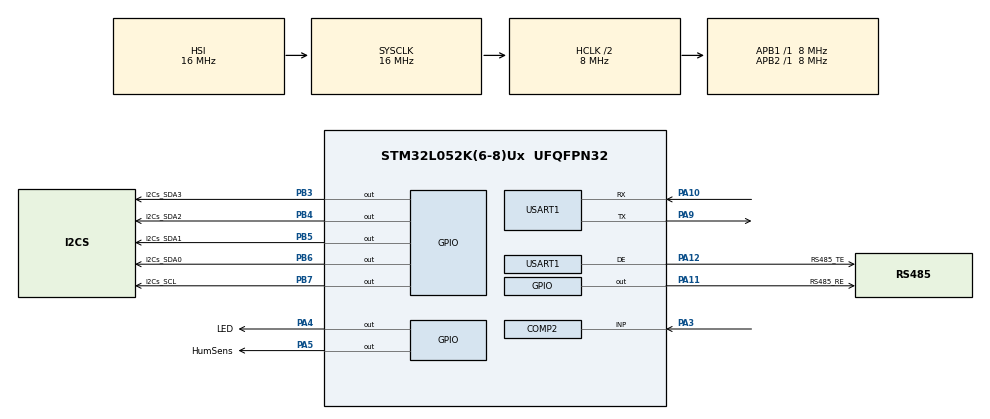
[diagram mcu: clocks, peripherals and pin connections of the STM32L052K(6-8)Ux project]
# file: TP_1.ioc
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COMP2.InvertingInput=COMP_INPUT_MINUS_1_4VREFINT
COMP2.TriggerMode=COMP_TRIGGERMODE_IT_RISING
FREERTOS.Tasks01=defaultTask,0,128,StartDefaultTask,Default,NULL,Dynamic,NULL,NULL;TempSensorsTask,0,128,vTempSensorsTask,Default,NULL,Dynamic,NULL,NULL
FREERTOS.Timers01=UART_Timer,UART_TimerCallback,osTimerOnce,Default,NULL,Dynamic,NULL
FREERTOS.configTOTAL_HEAP_SIZE=4096
FREERTOS.configUSE_IDLE_HOOK=1
FREERTOS.configUSE_TIMERS=1
Mcu.Family=STM32L0
Mcu.Name=STM32L052K(6-8)Ux
Mcu.Package=UFQFPN32
NVIC.ADC1_COMP_IRQn=true\:0\:0\:false\:false\:true\:false\:true
NVIC.TIM6_DAC_IRQn=true\:0\:0\:false\:false\:true\:false\:true
NVIC.USART1_IRQn=true\:0\:0\:false\:false\:true\:false\:true
PA10.Mode=Asynchronous
PA10.Signal=USART1_RX
PA11.GPIO_Label=RS485_RE
PA11.Signal=GPIO_Output
PA12.GPIO_Label=RS485_TE
PA12.Mode=Hardware Flow Control (RS485)
PA12.Signal=USART1_DE
PA13.Mode=Serial_Wire
PA13.Signal=SYS_SWDIO
PA14.Mode=Serial_Wire
PA14.Signal=SYS_SWCLK
PA3.Mode=INP
PA3.Signal=COMP2_INP
PA4.GPIO_Label=LED
PA4.Signal=GPIO_Output
PA5.GPIO_Label=HumSens
PA5.Signal=GPIO_Output
PA9.Mode=Asynchronous
PA9.Signal=USART1_TX
PB3.GPIO_Label=I2Cs_SDA3
PB3.GPIO_ModeDefaultOutputPP=GPIO_MODE_OUTPUT_OD
PB3.GPIO_Speed=GPIO_SPEED_FREQ_HIGH
PB3.PinState=GPIO_PIN_SET
PB3.Signal=GPIO_Output
PB4.GPIO_Label=I2Cs_SDA2
PB4.GPIO_ModeDefaultOutputPP=GPIO_MODE_OUTPUT_OD
PB4.GPIO_Speed=GPIO_SPEED_FREQ_HIGH
PB4.PinState=GPIO_PIN_SET
PB4.Signal=GPIO_Output
PB5.GPIO_Label=I2Cs_SDA1
PB5.GPIO_ModeDefaultOutputPP=GPIO_MODE_OUTPUT_OD
PB5.GPIO_Speed=GPIO_SPEED_FREQ_HIGH
PB5.PinState=GPIO_PIN_SET
PB5.Signal=GPIO_Output
PB6.GPIO_Label=I2Cs_SDA0
PB6.GPIO_ModeDefaultOutputPP=GPIO_MODE_OUTPUT_OD
PB6.GPIO_Speed=GPIO_SPEED_FREQ_HIGH
PB6.PinState=GPIO_PIN_SET
PB6.Signal=GPIO_Output
PB7.GPIO_Label=I2Cs_SCL
PB7.GPIO_ModeDefaultOutputPP=GPIO_MODE_OUTPUT_OD
PB7.GPIO_Speed=GPIO_SPEED_FREQ_HIGH
PB7.PinState=GPIO_PIN_SET
PB7.Signal=GPIO_Output
ProjectManager.HeapSize=0x200
ProjectManager.StackSize=0x400
ProjectManager.TargetToolchain=EWARM
RCC.AHBCLKDivider=RCC_SYSCLK_DIV2
RCC.AHBFreq_Value=8000000
RCC.APB1Freq_Value=8000000
RCC.APB1TimFreq_Value=8000000
RCC.APB2Freq_Value=8000000
RCC.APB2TimFreq_Value=8000000
RCC.HCLKFreq_Value=8000000
RCC.HSI16_VALUE=16000000
RCC.HSI48_VALUE=48000000
RCC.HSI_VALUE=16000000
RCC.LSE_VALUE=32768
RCC.MSI_VALUE=2097000
RCC.SYSCLKFreq_VALUE=16000000
RCC.SYSCLKSource=RCC_SYSCLKSOURCE_HSI
RCC.VCOOutputFreq_Value=48000000
TIM6.Period=1000
TIM6.Prescaler=800
USART1.VirtualMode-Asynchronous=VM_ASYNC
USART1.VirtualMode-Hardware\ Flow\ Control\ (RS485)=VM_ASYNC
USART1.WordLength=WORDLENGTH_8B
VP_COMP2_VS_VREFINT14.Mode=VREFINT_14
VP_CRC_VS_CRC.Mode=CRC_Activate
VP_FREERTOS_VS_ENABLE.Mode=Enabled
VP_TIM6_VS_ClockSourceINT.Mode=Enable_Timer
board=TP_1

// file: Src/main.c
/**
  ******************************************************************************
  * @file           : main.c
  * @brief          : Main program body
  ******************************************************************************
  * This notice applies to any and all portions of this file
  * that are not between comment pairs USER CODE BEGIN and
  * USER CODE END. Other portions of this file, whether
  * inserted by the user or by software development tools
  * are owned by their respective copyright owners.
  *
  * Copyright (c) 2018 STMicroelectronics International N.V.
  * All rights reserved.
  *
  * Redistribution and use in source and binary forms, with or without
  * modification, are permitted, provided that the following conditions are met:
  *
  * 1. Redistribution of source code must retain the above copyright notice,
  *    this list of conditions and the following disclaimer.
  * 2. Redistributions in binary form must reproduce the above copyright notice,
  *    this list of conditions and the following disclaimer in the documentation
  *    and/or other materials provided with the distribution.
  * 3. Neither the name of STMicroelectronics nor the names of other
  *    contributors to this software may be used to endorse or promote products
  *    derived from this software without specific written permission.
  * 4. This software, including modifications and/or derivative works of this
  *    software, must execute solely and exclusively on microcontroller or
  *    microprocessor devices manufactured by or for STMicroelectronics.
  * 5. Redistribution and use of this software other than as permitted under
  *    this license is void and will automatically terminate your rights under
  *    this license.
  *
  * THIS SOFTWARE IS PROVIDED BY STMICROELECTRONICS AND CONTRIBUTORS "AS IS"
  * AND ANY EXPRESS, IMPLIED OR STATUTORY WARRANTIES, INCLUDING, BUT NOT
  * LIMITED TO, THE IMPLIED WARRANTIES OF MERCHANTABILITY, FITNESS FOR A
  * PARTICULAR PURPOSE AND NON-INFRINGEMENT OF THIRD PARTY INTELLECTUAL PROPERTY
  * RIGHTS ARE DISCLAIMED TO THE FULLEST EXTENT PERMITTED BY LAW. IN NO EVENT
  * SHALL STMICROELECTRONICS OR CONTRIBUTORS BE LIABLE FOR ANY DIRECT, INDIRECT,
  * INCIDENTAL, SPECIAL, EXEMPLARY, OR CONSEQUENTIAL DAMAGES (INCLUDING, BUT NOT
  * LIMITED TO, PROCUREMENT OF SUBSTITUTE GOODS OR SERVICES; LOSS OF USE, DATA,
  * OR PROFITS; OR BUSINESS INTERRUPTION) HOWEVER CAUSED AND ON ANY THEORY OF
  * LIABILITY, WHETHER IN CONTRACT, STRICT LIABILITY, OR TORT (INCLUDING
  * NEGLIGENCE OR OTHERWISE) ARISING IN ANY WAY OUT OF THE USE OF THIS SOFTWARE,
  * EVEN IF ADVISED OF THE POSSIBILITY OF SUCH DAMAGE.
  *
  ******************************************************************************
  */
#include "main.h"
#include "stm32l0xx_hal.h"
#include "cmsis_os.h"
#include "comp.h"
#include "crc.h"
#include "tim.h"
#include "usart.h"
#include "gpio.h"

/* USER CODE BEGIN Includes */
#include "Build_def.h"
/* USER CODE END Includes */

/* USER CODE BEGIN PV */
/* Private variables ---------------------------------------------------------*/
const TInfo Info = //@ 0x800FF80 =
{
  {"1.00"},
  {"TIP-TP"},
  {BUILD_YEAR0, BUILD_YEAR1, BUILD_YEAR2, BUILD_YEAR3,
  '-',
  BUILD_MONTH0, BUILD_MONTH1,
  '-',
  BUILD_DAY0, BUILD_DAY1}
};
/* USER CODE END PV */

void SystemClock_Config(void);
void MX_FREERTOS_Init(void);

/* USER CODE BEGIN PFP */
/* Private function prototypes -----------------------------------------------*/

/* USER CODE END PFP */

int main(void)
{

  /* MCU Configuration----------------------------------------------------------*/

  /* Reset of all peripherals, Initializes the Flash interface and the Systick. */
  HAL_Init();

  /* Configure the system clock */
  SystemClock_Config();

  /* Initialize all configured peripherals */
  MX_GPIO_Init();
  MX_COMP2_Init();
  MX_CRC_Init();
  MX_TIM6_Init();
  MX_USART1_UART_Init();
  /* USER CODE BEGIN 2 */
  uint8_t tmp;
  HAL_UART_Receive_IT(&huart1, &tmp, 1);
  /* USER CODE END 2 */

  /* Call init function for freertos objects (in freertos.c) */
  MX_FREERTOS_Init();

  /* Start scheduler */
  osKernelStart();

  /* We should never get here as control is now taken by the scheduler */

  /* Infinite loop */
  while (1)
  {

  }

}

void SystemClock_Config(void)
{

  RCC_OscInitTypeDef RCC_OscInitStruct;
  RCC_ClkInitTypeDef RCC_ClkInitStruct;
  RCC_PeriphCLKInitTypeDef PeriphClkInit;

    /**Configure the main internal regulator output voltage
    */
  __HAL_PWR_VOLTAGESCALING_CONFIG(PWR_REGULATOR_VOLTAGE_SCALE1);

    /**Initializes the CPU, AHB and APB busses clocks
    */
  RCC_OscInitStruct.OscillatorType = RCC_OSCILLATORTYPE_HSI;
  RCC_OscInitStruct.HSIState = RCC_HSI_ON;
  RCC_OscInitStruct.HSICalibrationValue = 16;
  RCC_OscInitStruct.PLL.PLLState = RCC_PLL_NONE;
  if (HAL_RCC_OscConfig(&RCC_OscInitStruct) != HAL_OK)
  {
    _Error_Handler(__FILE__, __LINE__);
  }

    /**Initializes the CPU, AHB and APB busses clocks
    */
  RCC_ClkInitStruct.ClockType = RCC_CLOCKTYPE_HCLK|RCC_CLOCKTYPE_SYSCLK
                              |RCC_CLOCKTYPE_PCLK1|RCC_CLOCKTYPE_PCLK2;
  RCC_ClkInitStruct.SYSCLKSource = RCC_SYSCLKSOURCE_HSI;
  RCC_ClkInitStruct.AHBCLKDivider = RCC_SYSCLK_DIV2;
  RCC_ClkInitStruct.APB1CLKDivider = RCC_HCLK_DIV1;
  RCC_ClkInitStruct.APB2CLKDivider = RCC_HCLK_DIV1;

  if (HAL_RCC_ClockConfig(&RCC_ClkInitStruct, FLASH_LATENCY_0) != HAL_OK)
  {
    _Error_Handler(__FILE__, __LINE__);
  }

  PeriphClkInit.PeriphClockSelection = RCC_PERIPHCLK_USART1;
  PeriphClkInit.Usart1ClockSelection = RCC_USART1CLKSOURCE_PCLK2;
  if (HAL_RCCEx_PeriphCLKConfig(&PeriphClkInit) != HAL_OK)
  {
    _Error_Handler(__FILE__, __LINE__);
  }

    /**Configure the Systick interrupt time
    */
  HAL_SYSTICK_Config(HAL_RCC_GetHCLKFreq()/1000);

    /**Configure the Systick
    */
  HAL_SYSTICK_CLKSourceConfig(SYSTICK_CLKSOURCE_HCLK);

  /* SysTick_IRQn interrupt configuration */
  HAL_NVIC_SetPriority(SysTick_IRQn, 3, 0);
}

void _Error_Handler(char *file, int line)
{
  while(1)
  {
  }
}

/************************ (C) COPYRIGHT STMicroelectronics *****END OF FILE****/

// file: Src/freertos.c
/**
  ******************************************************************************
  * File Name          : freertos.c
  * Description        : Code for freertos applications
  ******************************************************************************
  * This notice applies to any and all portions of this file
  * that are not between comment pairs USER CODE BEGIN and
  * USER CODE END. Other portions of this file, whether
  * inserted by the user or by software development tools
  * are owned by their respective copyright owners.
  *
  * Copyright (c) 2018 STMicroelectronics International N.V.
  * All rights reserved.
  *
  * Redistribution and use in source and binary forms, with or without
  * modification, are permitted, provided that the following conditions are met:
  *
  * 1. Redistribution of source code must retain the above copyright notice,
  *    this list of conditions and the following disclaimer.
  * 2. Redistributions in binary form must reproduce the above copyright notice,
  *    this list of conditions and the following disclaimer in the documentation
  *    and/or other materials provided with the distribution.
  * 3. Neither the name of STMicroelectronics nor the names of other
  *    contributors to this software may be used to endorse or promote products
  *    derived from this software without specific written permission.
  * 4. This software, including modifications and/or derivative works of this
  *    software, must execute solely and exclusively on microcontroller or
  *    microprocessor devices manufactured by or for STMicroelectronics.
  * 5. Redistribution and use of this software other than as permitted under
  *    this license is void and will automatically terminate your rights under
  *    this license.
  *
  * THIS SOFTWARE IS PROVIDED BY STMICROELECTRONICS AND CONTRIBUTORS "AS IS"
  * AND ANY EXPRESS, IMPLIED OR STATUTORY WARRANTIES, INCLUDING, BUT NOT
  * LIMITED TO, THE IMPLIED WARRANTIES OF MERCHANTABILITY, FITNESS FOR A
  * PARTICULAR PURPOSE AND NON-INFRINGEMENT OF THIRD PARTY INTELLECTUAL PROPERTY
  * RIGHTS ARE DISCLAIMED TO THE FULLEST EXTENT PERMITTED BY LAW. IN NO EVENT
  * SHALL STMICROELECTRONICS OR CONTRIBUTORS BE LIABLE FOR ANY DIRECT, INDIRECT,
  * INCIDENTAL, SPECIAL, EXEMPLARY, OR CONSEQUENTIAL DAMAGES (INCLUDING, BUT NOT
  * LIMITED TO, PROCUREMENT OF SUBSTITUTE GOODS OR SERVICES; LOSS OF USE, DATA,
  * OR PROFITS; OR BUSINESS INTERRUPTION) HOWEVER CAUSED AND ON ANY THEORY OF
  * LIABILITY, WHETHER IN CONTRACT, STRICT LIABILITY, OR TORT (INCLUDING
  * NEGLIGENCE OR OTHERWISE) ARISING IN ANY WAY OUT OF THE USE OF THIS SOFTWARE,
  * EVEN IF ADVISED OF THE POSSIBILITY OF SUCH DAMAGE.
  *
  ******************************************************************************
  */

#include "FreeRTOS.h"
#include "task.h"
#include "cmsis_os.h"

/* USER CODE BEGIN Includes */
#include "main.h"
#include "comp.h"
#include "crc.h"
#include "tim.h"

#include "Measure.h"
#include "Serial.h"
#include "App.h"
/* USER CODE END Includes */

osThreadId defaultTaskHandle;
osThreadId TempSensorsTaskHandle;
osTimerId UART_TimerHandle;

void StartDefaultTask(void const * argument);
void vTempSensorsTask(void const * argument);
void UART_TimerCallback(void const * argument);

void MX_FREERTOS_Init(void); /* (MISRA C 2004 rule 8.1) */

/* Hook prototypes */
void vApplicationIdleHook(void);

/* USER CODE BEGIN 2 */
__weak void vApplicationIdleHook( void )
{
   /* vApplicationIdleHook() will only be called if configUSE_IDLE_HOOK is set
   to 1 in FreeRTOSConfig.h. It will be called on each iteration of the idle
   task. It is essential that code added to this hook function never attempts
   to block in any way (for example, call xQueueReceive() with a block time
   specified, or call vTaskDelay()). If the application makes use of the
   vTaskDelete() API function (as this demo application does) then it is also
   important that vApplicationIdleHook() is permitted to return to its calling
   function, because it is the responsibility of the idle task to clean up
   memory allocated by the kernel to any task that has since been deleted. */
   HAL_PWR_EnterSLEEPMode(PWR_LOWPOWERREGULATOR_ON, PWR_SLEEPENTRY_WFI);
}
/* USER CODE END 2 */

/* Init FreeRTOS */

void MX_FREERTOS_Init(void) {

  /* Create the timer(s) */
  /* definition and creation of UART_Timer */
  osTimerDef(UART_Timer, UART_TimerCallback);
  UART_TimerHandle = osTimerCreate(osTimer(UART_Timer), osTimerOnce, NULL);

  /* Create the thread(s) */
  /* definition and creation of defaultTask */
  osThreadDef(defaultTask, StartDefaultTask, osPriorityNormal, 0, 128);
  defaultTaskHandle = osThreadCreate(osThread(defaultTask), NULL);

  /* definition and creation of TempSensorsTask */
  osThreadDef(TempSensorsTask, vTempSensorsTask, osPriorityNormal, 0, 128);
  TempSensorsTaskHandle = osThreadCreate(osThread(TempSensorsTask), NULL);

}

/* StartDefaultTask function */
void StartDefaultTask(void const * argument)
{

  /* USER CODE BEGIN StartDefaultTask */
  DataInit();

  HAL_COMP_Start_IT(&hcomp2);
  HAL_TIM_Base_Start_IT(&htim6);
  while(1)
  {
    HAL_GPIO_WritePin(HumSens_GPIO_Port, HumSens_Pin, GPIO_PIN_SET);
    osDelay(20);
    HAL_GPIO_WritePin(HumSens_GPIO_Port, HumSens_Pin, GPIO_PIN_RESET);
    osDelay(20);
  }
  /* USER CODE END StartDefaultTask */
}

/* vTempSensorsTask function */
void vTempSensorsTask(void const * argument)
{
  /* USER CODE BEGIN vTempSensorsTask */
  Multi_I2Cs_Init();//Настройка пинов I2C-шин
  while(1)
  {
    for (int j = 0; j < IntegrSize; j++)
      TemperaturMeasument();//Замер 4 датчиков

    CalcAverage();//Расчёт среднего

    if ((GetDeviceMode() == StreamMode) || (GetDeviceMode() == FullStreamMode))
      SendMeasure();//Если термозонд в режиме потоковой передачи, то слать данные после каждого замера
    osDelay(10);
  }
  /* USER CODE END vTempSensorsTask */
}

/* UART_TimerCallback function */
void UART_TimerCallback(void const * argument)
{
  /* USER CODE BEGIN UART_TimerCallback */
  Parser(GetUARTBuffer());
  ResetRxBuffer();
  /* USER CODE END UART_TimerCallback */
}

/************************ (C) COPYRIGHT STMicroelectronics *****END OF FILE****/
